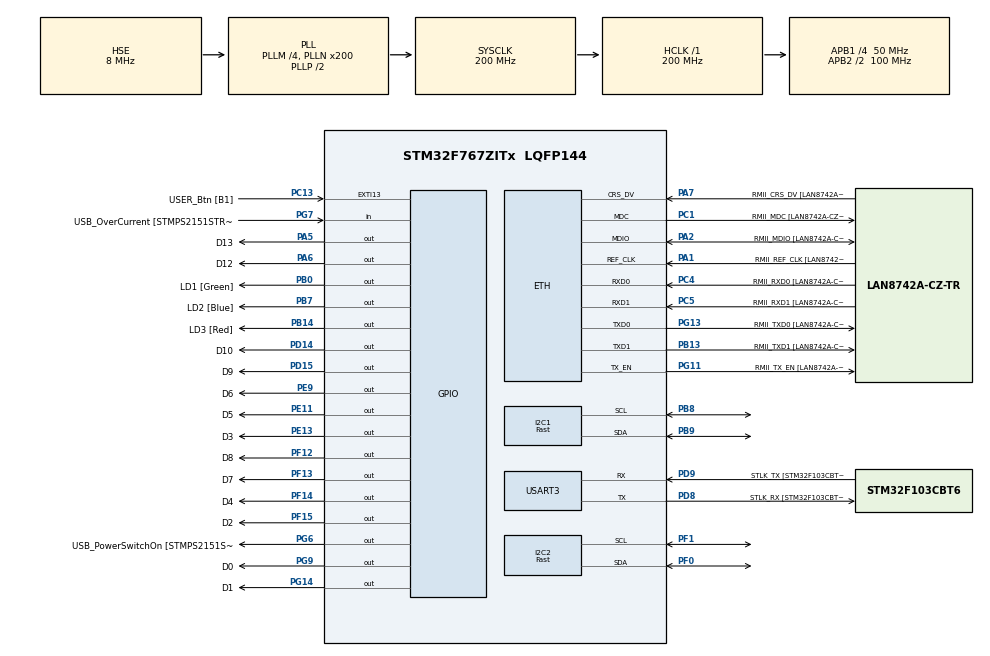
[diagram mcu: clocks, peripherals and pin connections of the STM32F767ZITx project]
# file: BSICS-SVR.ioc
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CORTEX_M7.ART_ACCLERATOR_ENABLE=1
CORTEX_M7.AccessPermission-Cortex_Memory_Protection_Unit_Region0_Settings=MPU_REGION_NO_ACCESS
CORTEX_M7.AccessPermission-Cortex_Memory_Protection_Unit_Region1_Settings=MPU_REGION_FULL_ACCESS
CORTEX_M7.AccessPermission-Cortex_Memory_Protection_Unit_Region2_Settings=MPU_REGION_FULL_ACCESS
CORTEX_M7.BaseAddress-Cortex_Memory_Protection_Unit_Region0_Settings=0x0
CORTEX_M7.BaseAddress-Cortex_Memory_Protection_Unit_Region1_Settings=(uint32_t) &_sbss_nc
CORTEX_M7.BaseAddress-Cortex_Memory_Protection_Unit_Region2_Settings=(uint32_t) &_sbss_nc
CORTEX_M7.CPU_DCache=Enabled
CORTEX_M7.CPU_ICache=Enabled
CORTEX_M7.DisableExec-Cortex_Memory_Protection_Unit_Region0_Settings=MPU_INSTRUCTION_ACCESS_DISABLE
CORTEX_M7.DisableExec-Cortex_Memory_Protection_Unit_Region1_Settings=MPU_INSTRUCTION_ACCESS_DISABLE
CORTEX_M7.DisableExec-Cortex_Memory_Protection_Unit_Region2_Settings=MPU_INSTRUCTION_ACCESS_DISABLE
CORTEX_M7.Enable-Cortex_Memory_Protection_Unit_Region0_Settings=MPU_REGION_ENABLE
CORTEX_M7.Enable-Cortex_Memory_Protection_Unit_Region1_Settings=MPU_REGION_ENABLE
CORTEX_M7.Enable-Cortex_Memory_Protection_Unit_Region2_Settings=MPU_REGION_ENABLE
CORTEX_M7.FlashInterface=TCM_Enabled
CORTEX_M7.IsBufferable-Cortex_Memory_Protection_Unit_Region0_Settings=MPU_ACCESS_NOT_BUFFERABLE
CORTEX_M7.IsBufferable-Cortex_Memory_Protection_Unit_Region1_Settings=MPU_ACCESS_NOT_BUFFERABLE
CORTEX_M7.IsBufferable-Cortex_Memory_Protection_Unit_Region2_Settings=MPU_ACCESS_BUFFERABLE
CORTEX_M7.IsShareable-Cortex_Memory_Protection_Unit_Region0_Settings=MPU_ACCESS_SHAREABLE
CORTEX_M7.IsShareable-Cortex_Memory_Protection_Unit_Region1_Settings=MPU_ACCESS_SHAREABLE
CORTEX_M7.IsShareable-Cortex_Memory_Protection_Unit_Region2_Settings=MPU_ACCESS_SHAREABLE
CORTEX_M7.MPU_Control=MPU_PRIVILEGED_DEFAULT
CORTEX_M7.Size-Cortex_Memory_Protection_Unit_Region0_Settings=MPU_REGION_SIZE_4GB
CORTEX_M7.Size-Cortex_Memory_Protection_Unit_Region1_Settings=MPU_REGION_SIZE_16KB
CORTEX_M7.Size-Cortex_Memory_Protection_Unit_Region2_Settings=MPU_REGION_SIZE_256B
CORTEX_M7.SubRegionDisable-Cortex_Memory_Protection_Unit_Region0_Settings=0x87
CORTEX_M7.TypeExtField-Cortex_Memory_Protection_Unit_Region0_Settings=MPU_TEX_LEVEL0
CORTEX_M7.TypeExtField-Cortex_Memory_Protection_Unit_Region1_Settings=MPU_TEX_LEVEL1
ETH.MACAddr=00\:80\:E1\:00\:00\:01
ETH.MediaInterface=ETH_MEDIA_INTERFACE_RMII
ETH.PhyAddress=0
FREERTOS.MEMORY_ALLOCATION=0
FREERTOS.Tasks01=defaultTask,0,768,StartDefaultTask,Default,NULL,Dynamic,NULL,NULL
FREERTOS.configMINIMAL_STACK_SIZE=512
FREERTOS.configTOTAL_HEAP_SIZE=32768
FREERTOS.configUSE_NEWLIB_REENTRANT=1
FREERTOS.configUSE_TIMERS=1
FREERTOS.copyHeapFile=0
I2C1.I2C_Coeff_DF=15
I2C1.I2C_Fall_Time=300
I2C1.I2C_Rise_Time=300
I2C1.I2C_Speed_Mode=I2C_Fast
I2C1.Timing=0x10900516
I2C2.I2C_Coeff_DF=15
I2C2.I2C_Fall_Time=300
I2C2.I2C_Rise_Time=300
I2C2.I2C_Speed_Mode=I2C_Fast
I2C2.Timing=0x10900516
LWIP.API_LIB_DEBUG=LWIP_DBG_ON
LWIP.CHECKSUM_BY_HARDWARE=0
LWIP.CHECKSUM_GEN_TCP=0
LWIP.GATEWAY_ADDRESS=192.168.000.001
LWIP.ICMP_DEBUG=LWIP_DBG_ON
LWIP.IP_ADDRESS=192.168.000.124
LWIP.IP_DEBUG=LWIP_DBG_ON
LWIP.LWIP_DHCP=0
LWIP.LWIP_MPU_COMPATIBLE=0
LWIP.LWIP_TCP_CLOSE_TIMEOUT_MS_DEFAULT=20000
LWIP.LWIP_TCP_KEEPALIVE=1
LWIP.MEMP_DEBUG=LWIP_DBG_ON
LWIP.MEMP_NUM_NETBUF=4
LWIP.MEMP_NUM_NETCONN=10
LWIP.MEM_DEBUG=LWIP_DBG_ON
LWIP.NETIF_DEBUG=LWIP_DBG_ON
LWIP.NETMASK_ADDRESS=255.255.255.000
LWIP.RAW_DEBUG=LWIP_DBG_ON
LWIP.SOCKETS_DEBUG=LWIP_DBG_ON
LWIP.TCPIP_DEBUG=LWIP_DBG_ON
LWIP.TCP_DEBUG=LWIP_DBG_ON
LWIP.TCP_OUTPUT_DEBUG=LWIP_DBG_ON
LWIP.Version=v2.1.2_Cube
Mcu.Family=STM32F7
Mcu.Name=STM32F767ZITx
Mcu.Package=LQFP144
NVIC.ETH_IRQn=true\:5\:0\:true\:false\:true\:true\:false\:true
NVIC.PriorityGroup=NVIC_PRIORITYGROUP_4
NVIC.TIM1_UP_TIM10_IRQn=true\:0\:0\:false\:false\:true\:false\:false\:true
NVIC.TimeBase=TIM1_UP_TIM10_IRQn
NVIC.TimeBaseIP=TIM1
PA1.GPIO_Label=RMII_REF_CLK [LAN8742A-CZ-TR_REFCLK0]
PA1.Mode=RMII
PA1.Signal=ETH_REF_CLK
PA10.GPIO_Label=USB_ID
PA10.Signal=USB_OTG_FS_ID
PA11.GPIO_Label=USB_DM
PA11.Signal=USB_OTG_FS_DM
PA12.GPIO_Label=USB_DP
PA12.Signal=USB_OTG_FS_DP
PA13.GPIO_Label=TMS
PA13.Mode=Serial_Wire
PA13.Signal=SYS_JTMS-SWDIO
PA14.GPIO_Label=TCK
PA14.Mode=Serial_Wire
PA14.Signal=SYS_JTCK-SWCLK
PA2.GPIO_Label=RMII_MDIO [LAN8742A-CZ-TR_MDIO]
PA2.Mode=RMII
PA2.Signal=ETH_MDIO
PA5.GPIO_Label=D13
PA5.Signal=GPIO_Output
PA6.GPIO_Label=D12
PA6.Signal=GPIO_Output
PA7.GPIO_Label=RMII_CRS_DV [LAN8742A-CZ-TR_CRS_DV]
PA7.Mode=RMII
PA7.Signal=ETH_CRS_DV
PA8.GPIO_Label=USB_SOF [TP1]
PA8.Signal=USB_OTG_FS_SOF
PA9.GPIO_Label=USB_VBUS
PA9.Signal=USB_OTG_FS_VBUS
PB0.GPIO_Label=LD1 [Green]
PB0.Signal=GPIO_Output
PB13.GPIO_Label=RMII_TXD1 [LAN8742A-CZ-TR_TXD1]
PB13.Mode=RMII
PB13.Signal=ETH_TXD1
PB14.GPIO_Label=LD3 [Red]
PB14.Signal=GPIO_Output
PB3.GPIO_Label=SW0
PB3.Signal=SYS_JTDO-SWO
PB7.GPIO_Label=LD2 [Blue]
PB7.Signal=GPIO_Output
PB8.Mode=I2C
PB8.Signal=I2C1_SCL
PB9.Mode=I2C
PB9.Signal=I2C1_SDA
PC1.GPIO_Label=RMII_MDC [LAN8742A-CZ-TR_MDC]
PC1.Mode=RMII
PC1.Signal=ETH_MDC
PC13.GPIO_Label=USER_Btn [B1]
PC13.Signal=GPXTI13
PC14/OSC32_IN.Mode=LSE-External-Oscillator
PC14/OSC32_IN.Signal=RCC_OSC32_IN
PC15/OSC32_OUT.Mode=LSE-External-Oscillator
PC15/OSC32_OUT.Signal=RCC_OSC32_OUT
PC4.GPIO_Label=RMII_RXD0 [LAN8742A-CZ-TR_RXD0]
PC4.Mode=RMII
PC4.Signal=ETH_RXD0
PC5.GPIO_Label=RMII_RXD1 [LAN8742A-CZ-TR_RXD1]
PC5.Mode=RMII
PC5.Signal=ETH_RXD1
PD14.GPIO_Label=D10
PD14.Signal=GPIO_Output
PD15.GPIO_Label=D9
PD15.Signal=GPIO_Output
PD8.GPIO_Label=STLK_RX [STM32F103CBT6_PA3]
PD8.Mode=Asynchronous
PD8.Signal=USART3_TX
PD9.GPIO_Label=STLK_TX [STM32F103CBT6_PA2]
PD9.Mode=Asynchronous
PD9.Signal=USART3_RX
PE11.GPIO_Label=D5
PE11.Signal=GPIO_Output
PE13.GPIO_Label=D3
PE13.Signal=GPIO_Output
PE9.GPIO_Label=D6
PE9.Signal=GPIO_Output
PF0.Mode=I2C
PF0.Signal=I2C2_SDA
PF1.Mode=I2C
PF1.Signal=I2C2_SCL
PF12.GPIO_Label=D8
PF12.Signal=GPIO_Output
PF13.GPIO_Label=D7
PF13.Signal=GPIO_Output
PF14.GPIO_Label=D4
PF14.Signal=GPIO_Output
PF15.GPIO_Label=D2
PF15.Signal=GPIO_Output
PG11.GPIO_Label=RMII_TX_EN [LAN8742A-CZ-TR_TXEN]
PG11.Mode=RMII
PG11.Signal=ETH_TX_EN
PG13.GPIO_Label=RMII_TXD0 [LAN8742A-CZ-TR_TXD0]
PG13.Mode=RMII
PG13.Signal=ETH_TXD0
PG14.GPIO_Label=D1
PG14.Signal=GPIO_Output
PG6.GPIO_Label=USB_PowerSwitchOn [STMPS2151STR_EN]
PG6.Signal=GPIO_Output
PG7.GPIO_Label=USB_OverCurrent [STMPS2151STR_FAULT]
PG7.Signal=GPIO_Input
PG9.GPIO_Label=D0
PG9.Signal=GPIO_Output
PH0/OSC_IN.GPIO_Label=MCO [STM32F103CBT6_PA8]
PH0/OSC_IN.Mode=HSE-External-Clock-Source
PH0/OSC_IN.Signal=RCC_OSC_IN
PH1/OSC_OUT.Mode=HSE-External-Clock-Source
PH1/OSC_OUT.Signal=RCC_OSC_OUT
ProjectManager.HeapSize=0x200
ProjectManager.StackSize=0x400
ProjectManager.TargetToolchain=SW4STM32
RCC.48MHZClocksFreq_Value=24000000
RCC.AHBFreq_Value=200000000
RCC.APB1CLKDivider=RCC_HCLK_DIV4
RCC.APB1Freq_Value=50000000
RCC.APB1TimFreq_Value=100000000
RCC.APB2CLKDivider=RCC_HCLK_DIV2
RCC.APB2Freq_Value=100000000
RCC.APB2TimFreq_Value=200000000
RCC.CortexFreq_Value=200000000
RCC.HCLKFreq_Value=200000000
RCC.HSE_VALUE=8000000
RCC.HSI_VALUE=16000000
RCC.PLLM=4
RCC.PLLMUL=RCC_PLL_MUL9
RCC.PLLN=200
RCC.PLLSourceVirtual=RCC_PLLSOURCE_HSE
RCC.PRESCALERUSB=RCC_USBCLKSOURCE_PLL_DIV1_5
RCC.SYSCLKFreq_VALUE=200000000
RCC.SYSCLKSource=RCC_SYSCLKSOURCE_PLLCLK
RCC.SYSCLKSourceVirtual=RCC_SYSCLKSOURCE_PLLCLK
RCC.USBFreq_Value=200000000
RCC.VCOOutputFreq_Value=400000000
USART3.VirtualMode-Asynchronous=VM_ASYNC
VP_FREERTOS_VS_CMSIS_V1.Mode=CMSIS_V1
VP_LWIP_VS_Enabled.Mode=Enabled
VP_SYS_VS_tim1.Mode=TIM1
board=NUCLEO-F767ZI

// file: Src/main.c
/* USER CODE BEGIN Header */
/**
  ******************************************************************************
  * @file           : main.c
  * @brief          : Main program body
  ******************************************************************************
  * @attention
  *
  * <h2><center>BSiCS-SVR</center></h2>
  *
  * Ethernet-enabled Automated Test Equipment (ATE) controller firmware for
  * STM32F7 microcontrollers, supports SCPI command interface on port 5025.
  * BSiCS-SVR is currently intended to be used with Nucleo-F767ZI boards and
  * essentially portable to other STM32F4 and STM32F7 devices.
  *
  * Parts of this file can be generated via STM32CubeMX.
  * See www.st.com/SLA0044 for details.
  *
  ******************************************************************************
  */
/* USER CODE END Header */
#include "main.h"
#include "cmsis_os.h"
#include "lwip.h"

/* USER CODE BEGIN Includes */
//#include "stm32f7xx_nucleo_144.h"
#include "lwip/netif.h"
#include "lwip/tcpip.h"

// #include "app_ethernet.h"
// #include "httpserver-netconn.h"
#include "scpi_server.h"
#include "devices.h"

/* USER CODE END Includes */

I2C_HandleTypeDef hi2c1;
I2C_HandleTypeDef hi2c2;

UART_HandleTypeDef huart3;

osThreadId defaultTaskHandle;
/* USER CODE BEGIN PV */
/* Private variables ---------------------------------------------------------*/
uint8_t peek_MX_LWIP_Init = 0;
volatile bool reinitialize_peripherals = false;
static SemaphoreHandle_t MTX_UART_I2C;
/* USER CODE END PV */

void SystemClock_Config(void);
static void MPU_Config(void);
static void MX_GPIO_Init(void);
static void MX_USART3_UART_Init(void);
static void MX_I2C1_Init(void);
static void MX_I2C2_Init(void);
void StartDefaultTask(void const * argument);

/* USER CODE BEGIN PFP */
/* Private function prototypes -----------------------------------------------*/

/* USER CODE END PFP */

/* USER CODE BEGIN 0 */

void disableStdioBuffering(void)
{
    // Enable flush after printf(): turn off buffers, so IO occurs immediately
    // Otherwise printf() only flushes the buffer when it sees a "\n" or up to the last "\n".
    setvbuf(stdin, NULL, _IONBF, 0);
    setvbuf(stdout, NULL, _IONBF, 0);
    setvbuf(stderr, NULL, _IONBF, 0);
}

int __io_putchar(int ch)
{
    xSemaphoreTake(MTX_UART_I2C, portMAX_DELAY);
    HAL_UART_Transmit(&huart3, (uint8_t *)&ch, 1, HAL_MAX_DELAY);
    xSemaphoreGive(MTX_UART_I2C);
    return ch;
}

// Run the first part of MX_LWIP_Init() to set up IP_ADDRESS, NETMASK_ADDRESS and GATEWAY_ADDRESS only, then return.
void MX_LWIP_Init_Addresses(){
    // requires private variable
    // uint8_t peek_MX_LWIP_Init = 0;
    //
    // also requires lwip.c insertions:
    //
    // / * USER CODE BEGIN 2 * /
    // extern uint8_t peek_MX_LWIP_Init;
    // / * USER CODE END 2 * /
    //
    // / * USER CODE BEGIN IP_ADDRESSES * /
    // if (peek_MX_LWIP_Init != 0){
    //     return;
    // }
    // / * USER CODE END IP_ADDRESSES * /
    //
    peek_MX_LWIP_Init = 1; // STM32CubeMX workaround: IPv4 address originates from MX_LWIP_Init() scope
    MX_LWIP_Init();        // peek_MX_LWIP_Init != 0 ? return in USER CODE BEGIN IP_ADDRESSES
    peek_MX_LWIP_Init = 0; // restore MX_LWIP_Init() to normal
}

#define NUM_TIMERS 1
TimerHandle_t xTimers[ NUM_TIMERS ];

#define DEBOUNCE_MAX 10
#define DEBOUNCE_THR  5
typedef struct __attribute__((__packed__)) {
    uint8_t x;
    bool state;
} debounce_counter_t;
debounce_counter_t debounce_ctr[1] = {};

bool update_and_detect_transition(debounce_counter_t *item, const bool momentary_state ){
    if(momentary_state) {
        // conditionally increment
        if(item->x < DEBOUNCE_MAX){
            item->x++;
        } else if(!item->state){
            item->state = true;
            return true;
        }

    } else if (item->x != 0) {
        item->x--;
        if(item->x < DEBOUNCE_THR){
            item->state = false;
        }
    }
    return false;
}

void keyscan_timer_callback( TimerHandle_t xTimer )
{ // see also pvTimerGetTimerID(), vTimerSetTimerID() and xTimerStop().
    configASSERT( xTimer );

    if(update_and_detect_transition(&debounce_ctr[0], GPIO_PIN_SET == HAL_GPIO_ReadPin(USER_Btn_GPIO_Port, USER_Btn_Pin))){
        Devices_increment_display_page_index();
    }
}

bool Timer_Init(unsigned int number, unsigned int interval, TimerCallbackFunction_t callback){
    configASSERT(number < NUM_TIMERS);
    if(number >= NUM_TIMERS){
        // Index out of range.
        return false;
    }
    /* Create then start some timers.  Starting the timers before the RTOS scheduler has been started means
     * the timers will start running immediately that the RTOS scheduler starts.
     * see: https://www.freertos.org/FreeRTOS-timers-xTimerCreate.html
     * For xTimerCreate RTOS API function to be available:
     *    configUSE_TIMERS (CubeMX FreeRTOS -> enable software timers) and
     *      configSUPPORT_DYNAMIC_ALLOCATION must both be set to 1 in FreeRTOSConfig.h
     *      (configSUPPORT_DYNAMIC_ALLOCATION can also be left undefined, in which case
     *      it will default to 1).
     *    The FreeRTOS/Source/timers.c C source file must be included in the build.
     */
    xTimers[ number ] = xTimerCreate (
        "Timer", /* Just a text name, not used by the RTOS kernel. */
        interval, /* The timer period in ticks, must be greater than 0. */
        pdTRUE, /* The timers will auto-reload themselves when they expire. */
        ( void * ) 0, /* pvTimerID is used to store a count of
            * the number of times the timer has expired, which is initialised to 0. */
        callback /* callback called when it expires. */
        );

    if( xTimers[ number ] != NULL ) {
        /* Start the timer. No block time is specified, and even if one was it would be
         * ignored because the RTOS scheduler has not yet been started. */
        if( xTimerStart( xTimers[ number ], 0 ) == pdPASS )
        {
            /* Timer successfully created and set into the Active state. */
            return true;
        }
    }

    return false;
}

bool Timers_Init(){
    bool result;
    result  = Timer_Init( 0,   3, keyscan_timer_callback );
    return result;
}

void I2C1_DeInit() {
    if (HAL_I2C_DeInit(&hi2c1) != HAL_OK) {
        Error_Handler();
    }
}

void I2C2_DeInit() {
    if (HAL_I2C_DeInit(&hi2c2) != HAL_OK) {
        Error_Handler();
    }
}

void request_reinitialization(){
    reinitialize_peripherals = true;
}

void process_reinitialization_request(bool force_reinitialize_I2C){
    taskENTER_CRITICAL(); // Prevent UART transmissions from other tasks from interfering with I2C transfers within.
    {
        if(reinitialize_peripherals || force_reinitialize_I2C){
            I2C1_DeInit();
            I2C2_DeInit();
            MX_I2C1_Init();
            MX_I2C2_Init();
        }
        if(reinitialize_peripherals) {
            Devices_full_init();
            reinitialize_peripherals = false;
        }
    }
    taskEXIT_CRITICAL();
}

// SCPI_DeviceConnectedEvent() overrides definition in scpi_server.c to activate LD1 SCPI device connection indicator.
void SCPI_Event_DeviceConnected(struct netconn * conn) {
    HAL_GPIO_WritePin(LD1_GPIO_Port, LD1_Pin, GPIO_PIN_SET);
}

// SCPI_DeviceDisconnectedEvent() overrides definition in scpi_server.c to turn off LD1 SCPI device connection indicator
void SCPI_Event_DeviceDisconnected(struct netconn * conn) {
    HAL_GPIO_WritePin(LD1_GPIO_Port, LD1_Pin, GPIO_PIN_RESET);
}

/* USER CODE END 0 */

int main(void)
{
  /* USER CODE BEGIN 1 */

    disableStdioBuffering();

    /* Activate MPU-related fault handlers:
    * Set all three (USGFAULTENA, BUSFAULTENA, and MEMFAULTENA) fault enable bits
    * in the System Control Block, System Handler Control and State Register.
    * Otherwise these faults are handled as hard faults by HardFault_Handler().
    */
    SCB->SHCSR |= SCB_SHCSR_MEMFAULTENA_Msk // will also be set by HAL_MPU_Enable()
                  | SCB_SHCSR_BUSFAULTENA_Msk
                  | SCB_SHCSR_USGFAULTENA_Msk;

  /* USER CODE END 1 */

  /* MPU Configuration--------------------------------------------------------*/
  MPU_Config();

  /* Enable I-Cache---------------------------------------------------------*/
  SCB_EnableICache();

  /* Enable D-Cache---------------------------------------------------------*/
  SCB_EnableDCache();

  /* MCU Configuration--------------------------------------------------------*/

  /* Reset of all peripherals, Initializes the Flash interface and the Systick. */
  HAL_Init();

  /* USER CODE BEGIN Init */

    /* FreeRTOS port.c: Priority grouping:
        " The interrupt controller (NVIC) allows the bits
        that define each interrupt's priority to be split between bits that
        define the interrupt's pre-emption priority bits and bits that define
        the interrupt's sub-priority.  For simplicity all bits must be defined
        to be pre-emption priority bits. "
        FreeRTOS assert suggests: NVIC_SetPriorityGrouping( 0 );
        HAL_Init() suggests leaving at HAL_NVIC_SetPriorityGrouping(NVIC_PRIORITYGROUP_4);
        which is 0 bit sub-priority, but 0x00000003U, not 0.
  */
  /* USER CODE END Init */

  /* Configure the system clock */
  SystemClock_Config();

  /* USER CODE BEGIN SysInit */
  MTX_UART_I2C = xSemaphoreCreateMutex(); // Create before User Code 2 section to prevent timeout caused by UART transmits within I2C transfers.
  /* USER CODE END SysInit */

  /* Initialize all configured peripherals */
  MX_GPIO_Init();
  MX_USART3_UART_Init();
  MX_I2C1_Init();
  MX_I2C2_Init();
  /* USER CODE BEGIN 2 */

  MX_LWIP_Init_Addresses();
  char buf[] = "UART OK\r\n";
  HAL_UART_Transmit(&huart3, buf, 9, HAL_MAX_DELAY);
  Devices_full_init();

  /* USER CODE END 2 */

  /* USER CODE BEGIN RTOS_TIMERS */
  Timers_Init();
  /* USER CODE END RTOS_TIMERS */

  /* Create the thread(s) */
  /* definition and creation of defaultTask */
  osThreadDef(defaultTask, StartDefaultTask, osPriorityNormal, 0, 768);
  defaultTaskHandle = osThreadCreate(osThread(defaultTask), NULL);

  /* Start scheduler */
  osKernelStart();

  /* We should never get here as control is now taken by the scheduler */
  /* Infinite loop */
  /* USER CODE BEGIN WHILE */
  const TickType_t xDelay = 100 / portTICK_PERIOD_MS;
  while (1)
  {
    /* USER CODE END WHILE */

  }
}

void SystemClock_Config(void)
{
  RCC_OscInitTypeDef RCC_OscInitStruct = {0};
  RCC_ClkInitTypeDef RCC_ClkInitStruct = {0};
  RCC_PeriphCLKInitTypeDef PeriphClkInitStruct = {0};

  /** Configure LSE Drive Capability
  */
  HAL_PWR_EnableBkUpAccess();
  /** Configure the main internal regulator output voltage
  */
  __HAL_RCC_PWR_CLK_ENABLE();
  __HAL_PWR_VOLTAGESCALING_CONFIG(PWR_REGULATOR_VOLTAGE_SCALE1);
  /** Initializes the RCC Oscillators according to the specified parameters
  * in the RCC_OscInitTypeDef structure.
  */
  RCC_OscInitStruct.OscillatorType = RCC_OSCILLATORTYPE_HSE;
  RCC_OscInitStruct.HSEState = RCC_HSE_BYPASS;
  RCC_OscInitStruct.PLL.PLLState = RCC_PLL_ON;
  RCC_OscInitStruct.PLL.PLLSource = RCC_PLLSOURCE_HSE;
  RCC_OscInitStruct.PLL.PLLM = 4;
  RCC_OscInitStruct.PLL.PLLN = 200;
  RCC_OscInitStruct.PLL.PLLP = RCC_PLLP_DIV2;
  RCC_OscInitStruct.PLL.PLLQ = 2;
  if (HAL_RCC_OscConfig(&RCC_OscInitStruct) != HAL_OK)
  {
    Error_Handler();
  }
  /** Activate the Over-Drive mode
  */
  if (HAL_PWREx_EnableOverDrive() != HAL_OK)
  {
    Error_Handler();
  }
  /** Initializes the CPU, AHB and APB buses clocks
  */
  RCC_ClkInitStruct.ClockType = RCC_CLOCKTYPE_HCLK|RCC_CLOCKTYPE_SYSCLK
                              |RCC_CLOCKTYPE_PCLK1|RCC_CLOCKTYPE_PCLK2;
  RCC_ClkInitStruct.SYSCLKSource = RCC_SYSCLKSOURCE_PLLCLK;
  RCC_ClkInitStruct.AHBCLKDivider = RCC_SYSCLK_DIV1;
  RCC_ClkInitStruct.APB1CLKDivider = RCC_HCLK_DIV4;
  RCC_ClkInitStruct.APB2CLKDivider = RCC_HCLK_DIV2;

  if (HAL_RCC_ClockConfig(&RCC_ClkInitStruct, FLASH_LATENCY_6) != HAL_OK)
  {
    Error_Handler();
  }
  PeriphClkInitStruct.PeriphClockSelection = RCC_PERIPHCLK_USART3|RCC_PERIPHCLK_I2C1
                              |RCC_PERIPHCLK_I2C2;
  PeriphClkInitStruct.Usart3ClockSelection = RCC_USART3CLKSOURCE_PCLK1;
  PeriphClkInitStruct.I2c1ClockSelection = RCC_I2C1CLKSOURCE_PCLK1;
  PeriphClkInitStruct.I2c2ClockSelection = RCC_I2C2CLKSOURCE_PCLK1;
  if (HAL_RCCEx_PeriphCLKConfig(&PeriphClkInitStruct) != HAL_OK)
  {
    Error_Handler();
  }
}

static void MX_I2C1_Init(void)
{

  hi2c1.Instance = I2C1;
  hi2c1.Init.Timing = 0x10900516;
  hi2c1.Init.OwnAddress1 = 0;
  hi2c1.Init.AddressingMode = I2C_ADDRESSINGMODE_7BIT;
  hi2c1.Init.DualAddressMode = I2C_DUALADDRESS_DISABLE;
  hi2c1.Init.OwnAddress2 = 0;
  hi2c1.Init.OwnAddress2Masks = I2C_OA2_NOMASK;
  hi2c1.Init.GeneralCallMode = I2C_GENERALCALL_DISABLE;
  hi2c1.Init.NoStretchMode = I2C_NOSTRETCH_DISABLE;
  if (HAL_I2C_Init(&hi2c1) != HAL_OK)
  {
    Error_Handler();
  }
  /** Configure Analogue filter
  */
  if (HAL_I2CEx_ConfigAnalogFilter(&hi2c1, I2C_ANALOGFILTER_ENABLE) != HAL_OK)
  {
    Error_Handler();
  }
  /** Configure Digital filter
  */
  if (HAL_I2CEx_ConfigDigitalFilter(&hi2c1, 15) != HAL_OK)
  {
    Error_Handler();
  }

}

static void MX_I2C2_Init(void)
{

  hi2c2.Instance = I2C2;
  hi2c2.Init.Timing = 0x10900516;
  hi2c2.Init.OwnAddress1 = 0;
  hi2c2.Init.AddressingMode = I2C_ADDRESSINGMODE_7BIT;
  hi2c2.Init.DualAddressMode = I2C_DUALADDRESS_DISABLE;
  hi2c2.Init.OwnAddress2 = 0;
  hi2c2.Init.OwnAddress2Masks = I2C_OA2_NOMASK;
  hi2c2.Init.GeneralCallMode = I2C_GENERALCALL_DISABLE;
  hi2c2.Init.NoStretchMode = I2C_NOSTRETCH_DISABLE;
  if (HAL_I2C_Init(&hi2c2) != HAL_OK)
  {
    Error_Handler();
  }
  /** Configure Analogue filter
  */
  if (HAL_I2CEx_ConfigAnalogFilter(&hi2c2, I2C_ANALOGFILTER_ENABLE) != HAL_OK)
  {
    Error_Handler();
  }
  /** Configure Digital filter
  */
  if (HAL_I2CEx_ConfigDigitalFilter(&hi2c2, 15) != HAL_OK)
  {
    Error_Handler();
  }

}

static void MX_USART3_UART_Init(void)
{

  huart3.Instance = USART3;
  huart3.Init.BaudRate = 115200;
  huart3.Init.WordLength = UART_WORDLENGTH_8B;
  huart3.Init.StopBits = UART_STOPBITS_1;
  huart3.Init.Parity = UART_PARITY_NONE;
  huart3.Init.Mode = UART_MODE_TX_RX;
  huart3.Init.HwFlowCtl = UART_HWCONTROL_NONE;
  huart3.Init.OverSampling = UART_OVERSAMPLING_16;
  huart3.Init.OneBitSampling = UART_ONE_BIT_SAMPLE_DISABLE;
  huart3.AdvancedInit.AdvFeatureInit = UART_ADVFEATURE_NO_INIT;
  if (HAL_UART_Init(&huart3) != HAL_OK)
  {
    Error_Handler();
  }

}

static void MX_GPIO_Init(void)
{
  GPIO_InitTypeDef GPIO_InitStruct = {0};

  /* GPIO Ports Clock Enable */
  __HAL_RCC_GPIOC_CLK_ENABLE();
  __HAL_RCC_GPIOF_CLK_ENABLE();
  __HAL_RCC_GPIOH_CLK_ENABLE();
  __HAL_RCC_GPIOA_CLK_ENABLE();
  __HAL_RCC_GPIOB_CLK_ENABLE();
  __HAL_RCC_GPIOE_CLK_ENABLE();
  __HAL_RCC_GPIOD_CLK_ENABLE();
  __HAL_RCC_GPIOG_CLK_ENABLE();

  /*Configure GPIO pin Output Level */
  HAL_GPIO_WritePin(GPIOA, D13_Pin|D12_Pin, GPIO_PIN_RESET);

  /*Configure GPIO pin Output Level */
  HAL_GPIO_WritePin(GPIOB, LD1_Pin|LD3_Pin|LD2_Pin, GPIO_PIN_RESET);

  /*Configure GPIO pin Output Level */
  HAL_GPIO_WritePin(GPIOF, D8_Pin|D7_Pin|D4_Pin|D2_Pin, GPIO_PIN_RESET);

  /*Configure GPIO pin Output Level */
  HAL_GPIO_WritePin(GPIOE, D6_Pin|D5_Pin|D3_Pin, GPIO_PIN_RESET);

  /*Configure GPIO pin Output Level */
  HAL_GPIO_WritePin(GPIOD, D10_Pin|D9_Pin, GPIO_PIN_RESET);

  /*Configure GPIO pin Output Level */
  HAL_GPIO_WritePin(GPIOG, USB_PowerSwitchOn_Pin|D0_Pin|D1_Pin, GPIO_PIN_RESET);

  /*Configure GPIO pin : USER_Btn_Pin */
  GPIO_InitStruct.Pin = USER_Btn_Pin;
  GPIO_InitStruct.Mode = GPIO_MODE_IT_RISING;
  GPIO_InitStruct.Pull = GPIO_NOPULL;
  HAL_GPIO_Init(USER_Btn_GPIO_Port, &GPIO_InitStruct);

  /*Configure GPIO pins : D13_Pin D12_Pin */
  GPIO_InitStruct.Pin = D13_Pin|D12_Pin;
  GPIO_InitStruct.Mode = GPIO_MODE_OUTPUT_PP;
  GPIO_InitStruct.Pull = GPIO_NOPULL;
  GPIO_InitStruct.Speed = GPIO_SPEED_FREQ_LOW;
  HAL_GPIO_Init(GPIOA, &GPIO_InitStruct);

  /*Configure GPIO pins : LD1_Pin LD3_Pin LD2_Pin */
  GPIO_InitStruct.Pin = LD1_Pin|LD3_Pin|LD2_Pin;
  GPIO_InitStruct.Mode = GPIO_MODE_OUTPUT_PP;
  GPIO_InitStruct.Pull = GPIO_NOPULL;
  GPIO_InitStruct.Speed = GPIO_SPEED_FREQ_LOW;
  HAL_GPIO_Init(GPIOB, &GPIO_InitStruct);

  /*Configure GPIO pins : D8_Pin D7_Pin D4_Pin D2_Pin */
  GPIO_InitStruct.Pin = D8_Pin|D7_Pin|D4_Pin|D2_Pin;
  GPIO_InitStruct.Mode = GPIO_MODE_OUTPUT_PP;
  GPIO_InitStruct.Pull = GPIO_NOPULL;
  GPIO_InitStruct.Speed = GPIO_SPEED_FREQ_LOW;
  HAL_GPIO_Init(GPIOF, &GPIO_InitStruct);

  /*Configure GPIO pins : D6_Pin D5_Pin D3_Pin */
  GPIO_InitStruct.Pin = D6_Pin|D5_Pin|D3_Pin;
  GPIO_InitStruct.Mode = GPIO_MODE_OUTPUT_PP;
  GPIO_InitStruct.Pull = GPIO_NOPULL;
  GPIO_InitStruct.Speed = GPIO_SPEED_FREQ_LOW;
  HAL_GPIO_Init(GPIOE, &GPIO_InitStruct);

  /*Configure GPIO pins : D10_Pin D9_Pin */
  GPIO_InitStruct.Pin = D10_Pin|D9_Pin;
  GPIO_InitStruct.Mode = GPIO_MODE_OUTPUT_PP;
  GPIO_InitStruct.Pull = GPIO_NOPULL;
  GPIO_InitStruct.Speed = GPIO_SPEED_FREQ_LOW;
  HAL_GPIO_Init(GPIOD, &GPIO_InitStruct);

  /*Configure GPIO pins : USB_PowerSwitchOn_Pin D0_Pin D1_Pin */
  GPIO_InitStruct.Pin = USB_PowerSwitchOn_Pin|D0_Pin|D1_Pin;
  GPIO_InitStruct.Mode = GPIO_MODE_OUTPUT_PP;
  GPIO_InitStruct.Pull = GPIO_NOPULL;
  GPIO_InitStruct.Speed = GPIO_SPEED_FREQ_LOW;
  HAL_GPIO_Init(GPIOG, &GPIO_InitStruct);

  /*Configure GPIO pin : USB_OverCurrent_Pin */
  GPIO_InitStruct.Pin = USB_OverCurrent_Pin;
  GPIO_InitStruct.Mode = GPIO_MODE_INPUT;
  GPIO_InitStruct.Pull = GPIO_NOPULL;
  HAL_GPIO_Init(USB_OverCurrent_GPIO_Port, &GPIO_InitStruct);

  /*Configure GPIO pins : USB_SOF_Pin USB_ID_Pin USB_DM_Pin USB_DP_Pin */
  GPIO_InitStruct.Pin = USB_SOF_Pin|USB_ID_Pin|USB_DM_Pin|USB_DP_Pin;
  GPIO_InitStruct.Mode = GPIO_MODE_AF_PP;
  GPIO_InitStruct.Pull = GPIO_NOPULL;
  GPIO_InitStruct.Speed = GPIO_SPEED_FREQ_VERY_HIGH;
  GPIO_InitStruct.Alternate = GPIO_AF10_OTG_FS;
  HAL_GPIO_Init(GPIOA, &GPIO_InitStruct);

  /*Configure GPIO pin : USB_VBUS_Pin */
  GPIO_InitStruct.Pin = USB_VBUS_Pin;
  GPIO_InitStruct.Mode = GPIO_MODE_INPUT;
  GPIO_InitStruct.Pull = GPIO_NOPULL;
  HAL_GPIO_Init(USB_VBUS_GPIO_Port, &GPIO_InitStruct);

}

/* USER CODE BEGIN 4 */
extern uint32_t _sbss_nc;
/* USER CODE END 4 */

void StartDefaultTask(void const * argument)
{
  /* init code for LWIP */
  MX_LWIP_Init();
  /* USER CODE BEGIN 5 */

  /* Initialize webserver demo */
  //http_server_netconn_init();

    /* Initialize SCPI server. */
    scpi_server_init();

    /* Notify user about the network interface config */
    //User_notification();

    uint8_t state = 0;
    bool refresh_success = true;
  /* Infinite loop */
  for(;;)
  {
      process_reinitialization_request(!refresh_success); // Combined use of UART and I2C from single task here (in critcal section).
      osDelay(15);
      xSemaphoreTake(MTX_UART_I2C, portMAX_DELAY);
      refresh_success = Devices_refresh((state & 0x07) == 0x07); // UART transmit suppressed here.
      xSemaphoreGive(MTX_UART_I2C);
      if(!refresh_success){
          printf("I2C transfer(s) failed, re-init.\r\n");
      }
      state++;
  }
  /* USER CODE END 5 */
}

/* MPU Configuration */

void MPU_Config(void)
{
  MPU_Region_InitTypeDef MPU_InitStruct = {0};

  /* Disables the MPU */
  HAL_MPU_Disable();
  /** Initializes and configures the Region and the memory to be protected
  */
  MPU_InitStruct.Enable = MPU_REGION_ENABLE;
  MPU_InitStruct.Number = MPU_REGION_NUMBER0;
  MPU_InitStruct.BaseAddress = 0x0;
  MPU_InitStruct.Size = MPU_REGION_SIZE_4GB;
  MPU_InitStruct.SubRegionDisable = 0x87;
  MPU_InitStruct.TypeExtField = MPU_TEX_LEVEL0;
  MPU_InitStruct.AccessPermission = MPU_REGION_NO_ACCESS;
  MPU_InitStruct.DisableExec = MPU_INSTRUCTION_ACCESS_DISABLE;
  MPU_InitStruct.IsShareable = MPU_ACCESS_SHAREABLE;
  MPU_InitStruct.IsCacheable = MPU_ACCESS_NOT_CACHEABLE;
  MPU_InitStruct.IsBufferable = MPU_ACCESS_NOT_BUFFERABLE;

  HAL_MPU_ConfigRegion(&MPU_InitStruct);
  /** Initializes and configures the Region and the memory to be protected
  */
  MPU_InitStruct.Enable = MPU_REGION_ENABLE;
  MPU_InitStruct.Number = MPU_REGION_NUMBER1;
  MPU_InitStruct.BaseAddress = (uint32_t) &_sbss_nc;
  MPU_InitStruct.Size = MPU_REGION_SIZE_16KB;
  MPU_InitStruct.SubRegionDisable = 0x0;
  MPU_InitStruct.TypeExtField = MPU_TEX_LEVEL1;
  MPU_InitStruct.AccessPermission = MPU_REGION_FULL_ACCESS;
  MPU_InitStruct.DisableExec = MPU_INSTRUCTION_ACCESS_DISABLE;
  MPU_InitStruct.IsShareable = MPU_ACCESS_SHAREABLE;
  MPU_InitStruct.IsCacheable = MPU_ACCESS_NOT_CACHEABLE;
  MPU_InitStruct.IsBufferable = MPU_ACCESS_NOT_BUFFERABLE;

  HAL_MPU_ConfigRegion(&MPU_InitStruct);
  /** Initializes and configures the Region and the memory to be protected
  */
  MPU_InitStruct.Enable = MPU_REGION_ENABLE;
  MPU_InitStruct.Number = MPU_REGION_NUMBER2;
  MPU_InitStruct.BaseAddress = (uint32_t) &_sbss_nc;
  MPU_InitStruct.Size = MPU_REGION_SIZE_256B;
  MPU_InitStruct.SubRegionDisable = 0x0;
  MPU_InitStruct.TypeExtField = MPU_TEX_LEVEL0;
  MPU_InitStruct.AccessPermission = MPU_REGION_FULL_ACCESS;
  MPU_InitStruct.DisableExec = MPU_INSTRUCTION_ACCESS_DISABLE;
  MPU_InitStruct.IsShareable = MPU_ACCESS_SHAREABLE;
  MPU_InitStruct.IsCacheable = MPU_ACCESS_NOT_CACHEABLE;
  MPU_InitStruct.IsBufferable = MPU_ACCESS_BUFFERABLE;

  HAL_MPU_ConfigRegion(&MPU_InitStruct);
  /* Enables the MPU */
  HAL_MPU_Enable(MPU_PRIVILEGED_DEFAULT);

}
void HAL_TIM_PeriodElapsedCallback(TIM_HandleTypeDef *htim)
{
  if (htim->Instance == TIM1) {
    HAL_IncTick();
  }
}

void Error_Handler(void)
{
  /* USER CODE BEGIN Error_Handler_Debug */
  /* User can add their own implementation to report the HAL error return state */
  printf("main.c Error_Handler called\n");

  while(1)
  {
  }
  /* USER CODE END Error_Handler_Debug */
}

/************************ (C) COPYRIGHT STMicroelectronics *****END OF FILE****/
